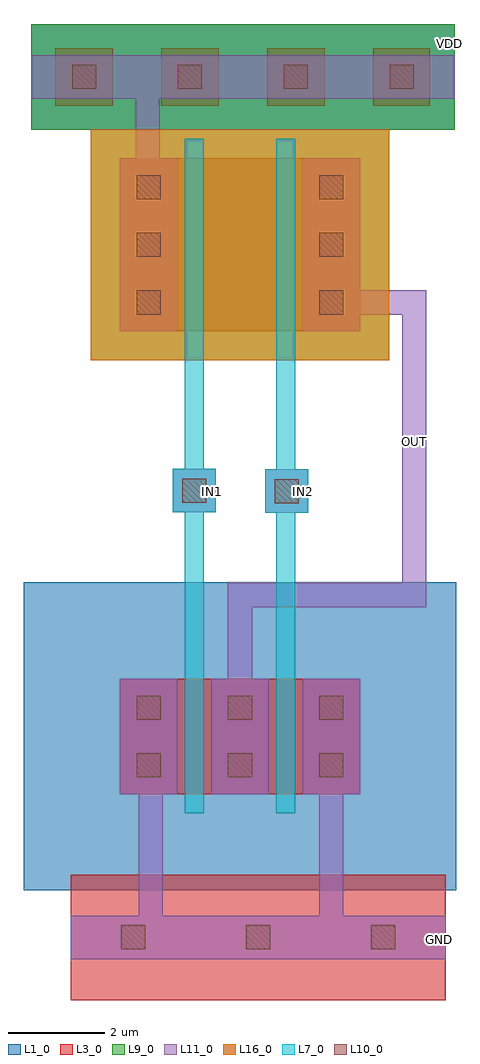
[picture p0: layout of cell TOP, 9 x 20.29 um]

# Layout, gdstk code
import gdstk
lib = gdstk.Library(unit=1e-6, precision=1e-09)
def R(c, l, rs):  # rectangles x0, y0, x1, y1
    for r in rs: c.add(gdstk.rectangle(r[:2], r[2:], *l))
def A(c, l, x, y, w, h, nx, ny, dx, dy):  # array of equal rectangles
    R(c, l, [(x+i*dx, y+j*dy, x+i*dx+w, y+j*dy+h) for i in range(nx) for j in range(ny)])
L1_0 = (1, 0)
L3_0 = (3, 0)
L7_0 = (7, 0)
L9_0 = (9, 0)
L10_0 = (10, 0)
L11_0 = (11, 0)
L16_0 = (16, 0)

dcont = lib.new_cell('dcont')
R(dcont, L3_0, [(-0.6,-0.6,0.6,0.6)])
R(dcont, L10_0, [(-0.25,-0.25,0.25,0.25)])

nch = lib.new_cell('Nch')
R(nch, L1_0, [(-2,-0.3,7,6.1)])
R(nch, L3_0, [(0,1.7,5,4.1)])
nch.add(gdstk.FlexPath([(0.6,1.7),(0.6,4.1)], 1.2, ends="flush", simple_path=True, layer=11, datatype=0))  # L11_0
nch.add(gdstk.FlexPath([(2.5,1.7),(2.5,4.1)], 1.2, ends="flush", simple_path=True, layer=11, datatype=0))  # L11_0
nch.add(gdstk.FlexPath([(4.4,1.7),(4.4,4.1)], 1.2, ends="flush", simple_path=True, layer=11, datatype=0))  # L11_0
nch.add(gdstk.FlexPath([(1.55,1.7),(1.55,4.1)], 0.4, ends=(0.4, 0.4), simple_path=True, layer=7, datatype=0))  # L7_0
nch.add(gdstk.FlexPath([(3.45,1.7),(3.45,4.1)], 0.4, ends=(0.4, 0.4), simple_path=True, layer=7, datatype=0))  # L7_0
nch.add(gdstk.Reference(dcont, (0.6,2.3)))
nch.add(gdstk.Reference(dcont, (0.6,3.5)))
nch.add(gdstk.Reference(dcont, (2.5,2.3)))
nch.add(gdstk.Reference(dcont, (2.5,3.5)))
nch.add(gdstk.Reference(dcont, (4.4,2.3)))
nch.add(gdstk.Reference(dcont, (4.4,3.5)))

pch_1 = lib.new_cell('Pch$1')
R(pch_1, L3_0, [(0,1.7,5,5.3)])
R(pch_1, L9_0, [(-0.6,1.1,5.6,5.9)])
R(pch_1, L16_0, [(-0.6,1.1,5.6,5.9)])
pch_1.add(gdstk.FlexPath([(0.6,1.7),(0.6,5.3)], 1.2, ends="flush", simple_path=True, layer=11, datatype=0))  # L11_0
pch_1.add(gdstk.FlexPath([(4.4,1.7),(4.4,5.3)], 1.2, ends="flush", simple_path=True, layer=11, datatype=0))  # L11_0
pch_1.add(gdstk.FlexPath([(1.55,1.7),(1.55,5.3)], 0.4, ends=(0.4, 0.4), simple_path=True, layer=7, datatype=0))  # L7_0
pch_1.add(gdstk.FlexPath([(3.45,1.7),(3.45,5.3)], 0.4, ends=(0.4, 0.4), simple_path=True, layer=7, datatype=0))  # L7_0
pch_1.add(gdstk.Reference(dcont, (0.6,2.3)))
pch_1.add(gdstk.Reference(dcont, (0.6,3.5)))
pch_1.add(gdstk.Reference(dcont, (0.6,4.7)))
pch_1.add(gdstk.Reference(dcont, (4.4,2.3)))
pch_1.add(gdstk.Reference(dcont, (4.4,3.5)))
pch_1.add(gdstk.Reference(dcont, (4.4,4.7)))

pcont = lib.new_cell('pcont')
R(pcont, L7_0, [(-0.45,-0.45,0.45,0.45)])
R(pcont, L10_0, [(-0.25,-0.25,0.25,0.25)])
R(pcont, L11_0, [(-0.45,-0.45,0.45,0.45)])

nsub_line = lib.new_cell('Nsub_line')
R(nsub_line, L3_0, [(0,-1.3,7.8,1.3)])
A(nsub_line, L10_0, 1.05, -0.25, 0.5, 0.5, 3, 1, 2.6, 0)
nsub_line.add(gdstk.FlexPath([(0,0),(7.8,0)], 0.9, ends="flush", simple_path=True, layer=11, datatype=0))  # L11_0

psub_line_1 = lib.new_cell('Psub_line$1')
R(psub_line_1, L1_0, [(0,-1.1,8.8,1.1)])
A(psub_line_1, L3_0, 0.5, -0.6, 1.2, 1.2, 4, 1, 2.2, 0)
R(psub_line_1, L9_0, [(0,-1.1,8.8,1.1)])
A(psub_line_1, L10_0, 0.85, -0.25, 0.5, 0.5, 4, 1, 2.2, 0)
psub_line_1.add(gdstk.FlexPath([(0,0),(8.8,0)], 0.9, ends="flush", simple_path=True, layer=11, datatype=0))  # L11_0

top = lib.new_cell('TOP')
top.add(gdstk.FlexPath([(0.68,0.24),(0.68,2.33),(4.3,2.33),(4.3,8.41),(2.83,8.41)], 0.5, ends="flush", simple_path=True, layer=11, datatype=0))  # L11_0
top.add(gdstk.FlexPath([(-1.24,10.37),(-1.24,13.55)], 0.5, ends="flush", simple_path=True, layer=11, datatype=0))  # L11_0
top.add(gdstk.FlexPath([(2.58,-1.32),(2.58,-5.07)], 0.5, ends="flush", simple_path=True, layer=11, datatype=0))  # L11_0
top.add(gdstk.FlexPath([(-1.18,-1.3),(-1.18,-4.85)], 0.5, ends="flush", simple_path=True, layer=11, datatype=0))  # L11_0
top.add(gdstk.FlexPath([(-0.27,7.56),(-0.27,0.8),(-0.27,0.8),(-0.27,0.78)], 0.4, ends="flush", simple_path=True, layer=7, datatype=0))  # L7_0
top.add(gdstk.FlexPath([(1.63,7.62),(1.63,0.82)], 0.4, ends="flush", simple_path=True, layer=7, datatype=0))  # L7_0
top.add(gdstk.Reference(nch, (-1.82,-3.51)))
top.add(gdstk.Reference(pch_1, (-1.82,6.11)))
top.add(gdstk.Reference(pcont, (-0.27,4.5)))
top.add(gdstk.Reference(nsub_line, (-2.84,-4.79)))
top.add(gdstk.Reference(psub_line_1, (-3.66,13.1)))
top.add(gdstk.Reference(pcont, (1.65,4.49)))
top.add(gdstk.Label('OUT', (4.31,5.52), layer=11, texttype=0))
top.add(gdstk.Label('VDD', (5.04,13.79), layer=11, texttype=0))
top.add(gdstk.Label('GND', (4.83,-4.83), layer=11, texttype=0))
top.add(gdstk.Label('IN1', (0.11,4.48), layer=11, texttype=0))
top.add(gdstk.Label('IN2', (2.01,4.48), layer=11, texttype=0))

lib.write_gds('TOP.gds')
